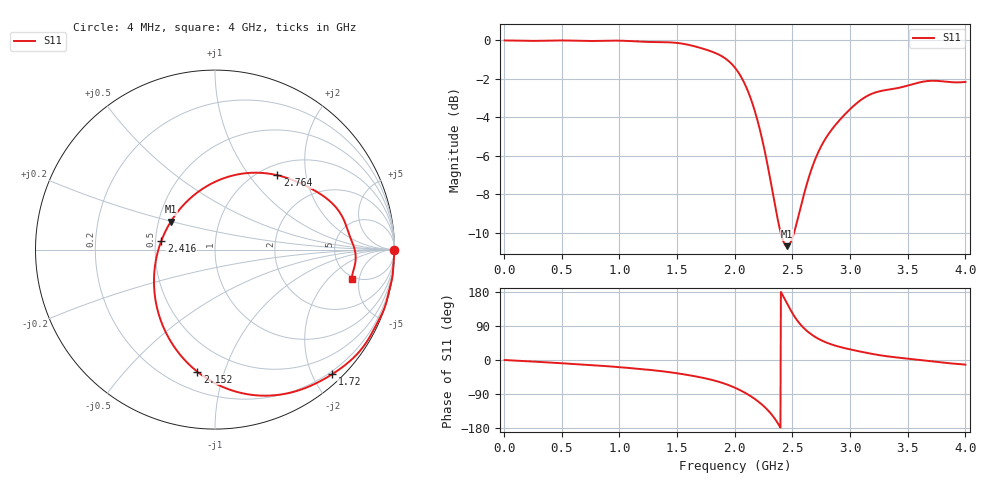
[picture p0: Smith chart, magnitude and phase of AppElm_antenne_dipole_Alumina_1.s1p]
! TOUCHSTONE file generated by CST MICROWAVE STUDIO
! Date and time: Sat May 14 11:21:34 2022
! Project name: AppElm_antenne_dipole_Alumina.cst
! Parameters = {L=33; e=0.035; f=2.45e+09; h=1.6; i=0.8; l1=2; lambda=122.449; ls=30; wl=1.7; ws=60}
! Header version: 2018
! Port assignment regex: !\s*Touchstone port\s*([0-9]+)\s*=\s*(CST MWS port|CST DS port)\s*([0-9]+|Zmin|Zmax)\s*\(\"(.*)\"\)(\s*mode\s*([0-9]+))?.*
! Touchstone port assignment:
! Touchstone port 1 = CST MWS port 1 ("")
# GHz S MA R 50
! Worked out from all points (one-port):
!   1000 points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, 4 MHz to 4 GHz, reference 50 ohm
!   lowest |S11| = -10.7 dB at 2.456 GHz (marker M1), VSWR 1.82, Z = 29 + j9.89 ohm
!   |S11| at or under -10 dB: 2.398 GHz to 2.515 GHz (116.5 MHz wide, 4.74 % of centre)
!   S11 on the Smith chart (normalised r, x): 4 MHz: open; 1.72 GHz: 0.15, -2.30; 2.152 GHz: 0.32, -0.81; 2.416 GHz: 0.54, +0.06; 2.764 GHz: 1.18, +1.39; 4 GHz: 4.71, -3.94
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0.004  1 -0.1
0.504  1 -8.6
1.004  0.9986 -19.0
1.324  0.9903 -28.1
1.504  0.985 -35.2
1.72  0.9528 -46.8
1.872  0.9153 -58.4
1.936  0.8893 -65.0
2.004  0.8477 -73.5
2.08  0.7781 -85.0
2.152  0.6872 -98.3
2.228  0.569 -115.6
2.292  0.4613 -134.2
2.352  0.3685 -157.0
2.416  0.303 170.7
2.456  0.2915 147.6
2.504  0.3089 121.6
2.56  0.3566 97.3
2.62  0.418 78.2
2.684  0.4791 63.4
2.764  0.5406 50.1
2.868  0.6003 38.2
3.004  0.6642 27.7
3.112  0.7062 20.8
3.212  0.731 15.0
3.504  0.7636 3.5
3.692  0.785 -3.2
4  0.7799 -12.1
